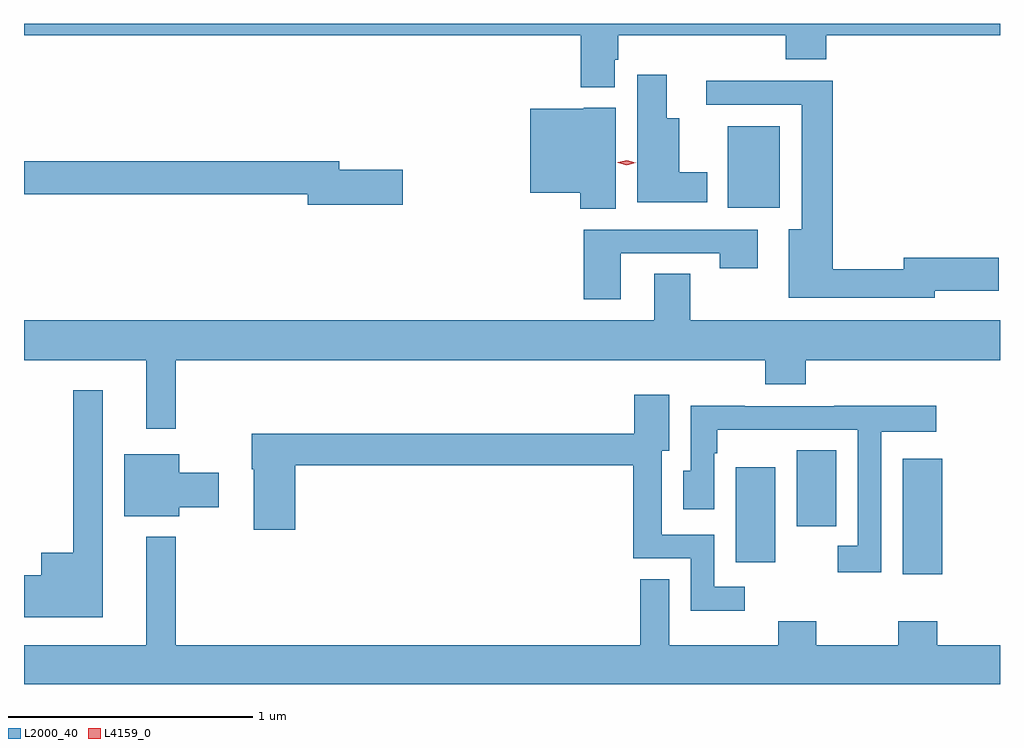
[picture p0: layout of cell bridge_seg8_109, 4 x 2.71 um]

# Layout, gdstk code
import gdstk
lib = gdstk.Library(unit=1e-6, precision=1e-09)
def R(c, l, rs):  # rectangles x0, y0, x1, y1
    for r in rs: c.add(gdstk.rectangle(r[:2], r[2:], *l))
def P(c, l, *ps):  # polygons
    for p in ps: c.add(gdstk.Polygon(p, *l))
L2000_40 = (2000, 40)
L4159_0 = (4159, 0)

bridge_seg8_109 = lib.new_cell('bridge_seg8_109')
R(bridge_seg8_109, L2000_40, [(768.959,1162.242,769.12,1162.717), (768.275,1162.292,768.436,1162.681), (768.524,1162.44,768.685,1162.751), (768.242,1163.744,768.454,1164.079)])
P(bridge_seg8_109, L2000_40, [(767.779,1164.351),(767.792,1164.351),(767.792,1164.452),(768.479,1164.452),(768.479,1164.353),(768.644,1164.353),(768.644,1164.452),(769.357,1164.452),(769.357,1164.5),(765.357,1164.5),(765.357,1164.452),(767.639,1164.452),(767.639,1164.239),(767.779,1164.239)],
  [(768.157,1163.89),(768.043,1163.89),(768.043,1164.112),(767.992,1164.112),(767.992,1164.289),(767.87,1164.289),(767.87,1163.768),(768.157,1163.768)],
  [(769.09,1163.405),(769.351,1163.405),(769.351,1163.54),(768.962,1163.54),(768.962,1163.492),(768.671,1163.492),(768.671,1164.266),(768.153,1164.266),(768.153,1164.168),(768.545,1164.168),(768.545,1163.656),(768.491,1163.656),(768.491,1163.376),(769.09,1163.376)],
  [(767.782,1164.154),(767.652,1164.154),(767.652,1164.151),(767.432,1164.151),(767.432,1163.807),(767.636,1163.807),(767.636,1163.74),(767.782,1163.74)],
  [(766.909,1163.9),(766.648,1163.9),(766.648,1163.936),(765.357,1163.936),(765.357,1163.8),(766.52,1163.8),(766.52,1163.758),(766.909,1163.758)],
  [(767.803,1163.559),(768.208,1163.559),(768.208,1163.496),(768.364,1163.496),(768.364,1163.655),(767.651,1163.655),(767.651,1163.37),(767.803,1163.37)],
  [(768.087,1163.474),(767.939,1163.474),(767.939,1163.284),(765.357,1163.284),(765.357,1163.12),(765.857,1163.12),(765.857,1162.839),(765.979,1162.839),(765.979,1163.12),(768.395,1163.12),(768.395,1163.021),(768.56,1163.021),(768.56,1163.12),(769.357,1163.12),(769.357,1163.284),(768.087,1163.284)],
  [(765.679,1162.996),(765.558,1162.996),(765.558,1162.33),(765.428,1162.33),(765.428,1162.238),(765.357,1162.238),(765.357,1162.067),(765.679,1162.067)],
  [(768.31,1162.191),(768.186,1162.191),(768.186,1162.404),(767.971,1162.404),(767.971,1162.749),(768.001,1162.749),(768.001,1162.978),(767.858,1162.978),(767.858,1162.819),(766.291,1162.819),(766.291,1162.673),(766.298,1162.673),(766.298,1162.425),(766.469,1162.425),(766.469,1162.69),(767.853,1162.69),(767.853,1162.308),(768.09,1162.308),(768.09,1162.094),(768.31,1162.094)],
  [(768.87,1162.826),(769.096,1162.826),(769.096,1162.934),(768.677,1162.934),(768.677,1162.932),(768.311,1162.932),(768.311,1162.934),(768.09,1162.934),(768.09,1162.668),(768.059,1162.668),(768.059,1162.509),(768.186,1162.509),(768.186,1162.739),(768.199,1162.739),(768.199,1162.835),(768.428,1162.835),(768.428,1162.836),(768.774,1162.836),(768.774,1162.359),(768.693,1162.359),(768.693,1162.251),(768.87,1162.251)],
  [(765.994,1162.517),(766.156,1162.517),(766.156,1162.659),(765.994,1162.659),(765.994,1162.735),(765.767,1162.735),(765.767,1162.481),(765.994,1162.481)],
  [(769.357,1161.952),(769.1,1161.952),(769.1,1162.051),(768.94,1162.051),(768.94,1161.952),(768.603,1161.952),(768.603,1162.051),(768.448,1162.051),(768.448,1161.952),(768.001,1161.952),(768.001,1162.223),(767.883,1162.223),(767.883,1161.952),(765.979,1161.952),(765.979,1162.396),(765.857,1162.396),(765.857,1161.952),(765.357,1161.952),(765.357,1161.791),(769.357,1161.791)])
P(bridge_seg8_109, L4159_0, [(767.827,1163.92),(767.79,1163.93),(767.79,1163.93),(767.79,1163.931),(767.827,1163.94),(767.865,1163.93),(767.865,1163.93),(767.865,1163.93)])

lib.write_gds('bridge_seg8_109.gds')
